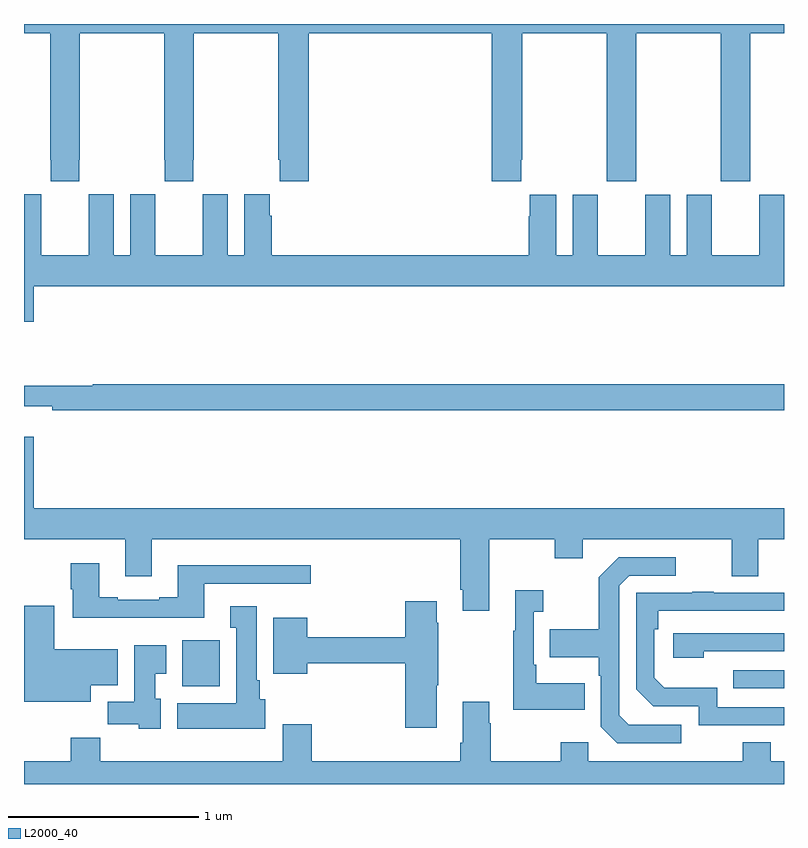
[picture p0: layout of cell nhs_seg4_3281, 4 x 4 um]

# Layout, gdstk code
import gdstk
lib = gdstk.Library(unit=1e-6, precision=1e-09)
def R(c, l, rs):  # rectangles x0, y0, x1, y1
    for r in rs: c.add(gdstk.rectangle(r[:2], r[2:], *l))
def P(c, l, *ps):  # polygons
    for p in ps: c.add(gdstk.Polygon(p, *l))
L2000_40 = (2000, 40)

nhs_seg4_3281 = lib.new_cell('nhs_seg4_3281')
R(nhs_seg4_3281, L2000_40, [(288.733,761.403,289,761.499), (285.833,761.414,286.03,761.656)])
P(nhs_seg4_3281, L2000_40, [(285.291,764.185),(285.294,764.185),(285.294,764.852),(285.739,764.852),(285.739,764.185),(285.741,764.185),(285.741,764.073),(285.891,764.073),(285.891,764.185),(285.894,764.185),(285.894,764.852),(286.339,764.852),(286.339,764.185),(286.345,764.185),(286.345,764.073),(286.499,764.073),(286.499,764.852),(287.462,764.852),(287.462,764.073),(287.617,764.073),(287.617,764.185),(287.622,764.185),(287.622,764.852),(288.067,764.852),(288.067,764.073),(288.222,764.073),(288.222,764.852),(288.667,764.852),(288.667,764.073),(288.822,764.073),(288.822,764.852),(289,764.852),(289,764.9),(285,764.9),(285,764.852),(285.139,764.852),(285.139,764.185),(285.141,764.185),(285.141,764.073),(285.291,764.073)],
  [(285.052,763.52),(289,763.52),(289,764.002),(288.869,764.002),(288.869,763.684),(288.619,763.684),(288.619,764.002),(288.488,764.002),(288.488,763.684),(288.4,763.684),(288.4,764.002),(288.269,764.002),(288.269,763.684),(288.019,763.684),(288.019,764.002),(287.888,764.002),(287.888,763.684),(287.8,763.684),(287.8,764.002),(287.663,764.002),(287.663,763.889),(287.657,763.889),(287.657,763.684),(286.304,763.684),(286.304,763.892),(286.294,763.892),(286.294,764.005),(286.16,764.005),(286.16,763.684),(286.072,763.684),(286.072,764.005),(285.942,764.005),(285.942,763.892),(285.941,763.892),(285.941,763.684),(285.691,763.684),(285.691,763.892),(285.69,763.892),(285.69,764.005),(285.56,764.005),(285.56,763.684),(285.472,763.684),(285.472,764.005),(285.342,764.005),(285.342,763.892),(285.341,763.892),(285.341,763.684),(285.091,763.684),(285.091,763.892),(285.09,763.892),(285.09,764.005),(285,764.005),(285,763.332),(285.052,763.332)],
  [(289,763.004),(285.362,763.004),(285.362,762.997),(285,762.997),(285,762.887),(285.148,762.887),(285.148,762.868),(289,762.868)],
  [(287.449,762.188),(287.794,762.188),(287.794,762.089),(287.941,762.089),(287.941,762.188),(288.725,762.188),(288.725,761.994),(288.865,761.994),(288.865,762.188),(289,762.188),(289,762.352),(285.052,762.352),(285.052,762.727),(285,762.727),(285,762.188),(285.533,762.188),(285.533,761.994),(285.673,761.994),(285.673,762.188),(287.297,762.188),(287.297,761.923),(287.309,761.923),(287.309,761.811),(287.449,761.811)],
  [(288.46,761.211),(288.183,761.211),(288.132,761.262),(288.132,761.943),(288.186,761.997),(288.43,761.997),(288.43,762.093),(288.129,762.093),(288.024,761.987),(288.024,761.715),(287.767,761.715),(287.767,761.567),(288.024,761.567),(288.024,761.471),(288.036,761.471),(288.036,761.202),(288.123,761.115),(288.46,761.115)],
  [(285.949,761.955),(286.51,761.955),(286.51,762.052),(285.809,762.052),(285.809,761.884),(285.713,761.884),(285.713,761.871),(285.493,761.871),(285.493,761.884),(285.397,761.884),(285.397,762.061),(285.245,762.061),(285.245,761.926),(285.257,761.926),(285.257,761.774),(285.949,761.774)],
  [(287.951,761.431),(287.695,761.431),(287.695,761.527),(287.682,761.527),(287.682,761.807),(287.734,761.807),(287.734,761.92),(287.585,761.92),(287.585,761.707),(287.574,761.707),(287.574,761.291),(287.951,761.291)],
  [(289,761.304),(288.648,761.304),(288.648,761.407),(288.371,761.407),(288.318,761.46),(288.318,761.714),(288.338,761.714),(288.338,761.811),(289,761.811),(289,761.907),(288.629,761.907),(288.629,761.912),(288.517,761.912),(288.517,761.907),(288.222,761.907),(288.222,761.4),(288.312,761.31),(288.552,761.31),(288.552,761.208),(289,761.208)],
  [(287.173,761.419),(287.181,761.419),(287.181,761.75),(287.173,761.75),(287.173,761.863),(287.006,761.863),(287.006,761.672),(286.492,761.672),(286.492,761.776),(286.313,761.776),(286.313,761.48),(286.492,761.48),(286.492,761.536),(287.006,761.536),(287.006,761.196),(287.173,761.196)],
  [(285.352,761.42),(285.493,761.42),(285.493,761.608),(285.16,761.608),(285.16,761.839),(285,761.839),(285,761.333),(285.352,761.333)],
  [(286.27,761.346),(286.24,761.346),(286.24,761.446),(286.225,761.446),(286.225,761.836),(286.085,761.836),(286.085,761.723),(286.118,761.723),(286.118,761.326),(285.806,761.326),(285.806,761.192),(286.27,761.192)],
  [(288.578,761.598),(289,761.598),(289,761.694),(288.417,761.694),(288.417,761.564),(288.578,761.564)],
  [(285.721,761.35),(285.691,761.35),(285.691,761.48),(285.748,761.48),(285.748,761.629),(285.581,761.629),(285.581,761.332),(285.442,761.332),(285.442,761.214),(285.603,761.214),(285.603,761.192),(285.721,761.192)],
  [(286.361,761.215),(286.361,761.02),(285.401,761.02),(285.401,761.144),(285.245,761.144),(285.245,761.02),(285,761.02),(285,760.9),(289,760.9),(289,761.02),(288.931,761.02),(288.931,761.119),(288.784,761.119),(288.784,761.02),(287.97,761.02),(287.97,761.119),(287.824,761.119),(287.824,761.02),(287.457,761.02),(287.457,761.219),(287.449,761.219),(287.449,761.332),(287.309,761.332),(287.309,761.116),(287.297,761.116),(287.297,761.02),(286.514,761.02),(286.514,761.215)])

lib.write_gds('nhs_seg4_3281.gds')
